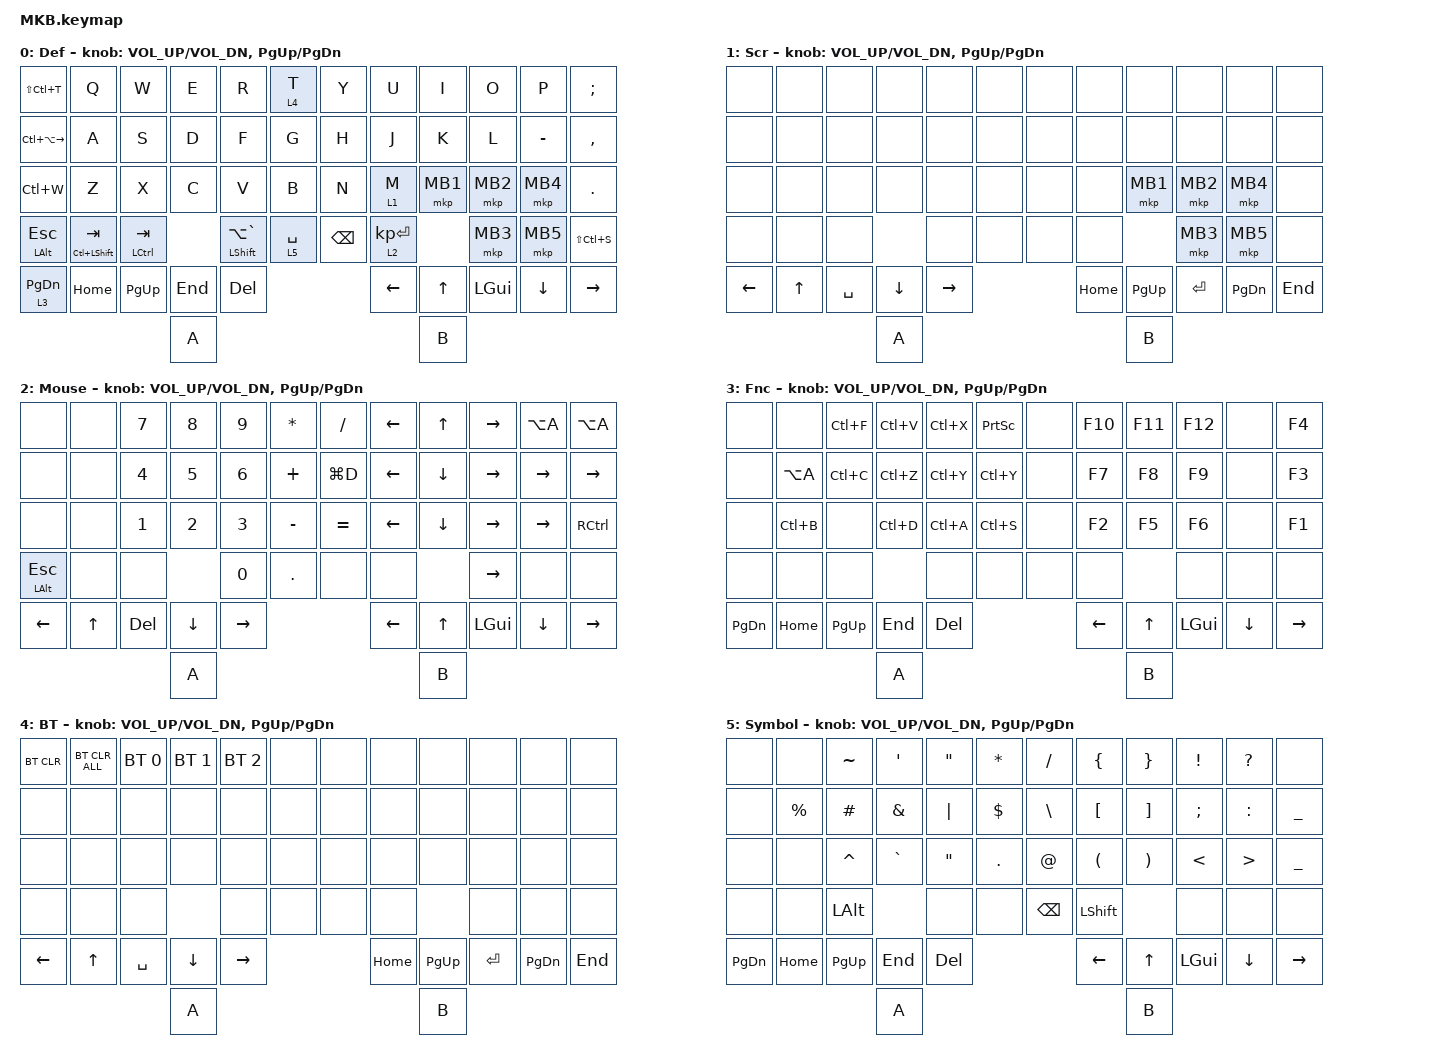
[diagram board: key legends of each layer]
// #include <layout_shift.dtsi>

#include <layout_shift_kp_override.dtsi>
#include <behaviors.dtsi>
#include <dt-bindings/zmk/bt.h>
#include <dt-bindings/zmk/keys.h>
#include <dt-bindings/zmk/pointing.h>

#define DEF 0
#define MSCROLL 1
#define MOUSE 2
#define FUNC 3
#define BT 4
#define SYMBOL 5
#define NUM 6

&mt {
    flavor = "balanced";
    tapping-term-ms = <280>;
    quick-tap-ms = <175>;
    require-prior-idle-ms = <150>;
};

/ {
    keymap {
        compatible = "zmk,keymap";

        default_layer {
            label = "Def";
            bindings = <
&kp LS(LC(T))      &kp Q                   &kp W                 &kp E    &kp R                 &lt 4 T          &kp Y     &kp U           &kp I     &kp O         &kp P      &kp SEMI
&kp LC(LA(RIGHT))  &kp A                   &kp S                 &kp D    &kp F                 &kp G            &kp H     &kp J           &kp K     &kp L         &kp MINUS  &kp COMMA
&kp LC(W)          &kp Z                   &kp X                 &kp C    &kp V                 &kp B            &kp N     &lt 1 M         &mkp MB1  &mkp MB2      &mkp MB4   &kp DOT
&mt LEFT_ALT ESC   &mt LC(LEFT_SHIFT) TAB  &mt LEFT_CONTROL TAB           &mt LSHIFT LA(GRAVE)  &lt 5 SPACE      &kp BSPC  &lt 2 KP_ENTER            &mkp MB3      &mkp MB5   &kp LS(LC(S))
&lt 3 PG_DN        &kp HOME                &kp PG_UP             &kp END  &kp DEL                                          &kp LEFT        &kp UP    &kp LEFT_GUI  &kp DOWN   &kp RIGHT
                                                                 &kp A                                                                     &kp B
            >;

            sensor-bindings = <&inc_dec_kp C_VOL_UP C_VOL_DN &inc_dec_kp PG_UP PG_DN>;
        };

        mousescroll_layer {
            label = "Scr";
            bindings = <
&none     &none   &none      &none     &none      &none      &none  &none     &none      &none      &none      &none
&none     &none   &none      &none     &none      &none      &none  &none     &none      &none      &none      &none
&none     &none   &none      &none     &none      &none      &none  &none     &mkp MB1   &mkp MB2   &mkp MB4   &none
&none     &none   &none                &none      &none      &none  &none                &mkp MB3   &mkp MB5   &none
&kp LEFT  &kp UP  &kp SPACE  &kp DOWN  &kp RIGHT                    &kp HOME  &kp PG_UP  &kp ENTER  &kp PG_DN  &kp END
                             &kp A                                            &kp B
            >;

            sensor-bindings = <&inc_dec_kp C_VOL_UP C_VOL_DN &inc_dec_kp PG_UP PG_DN>;
        };

        mouse_layer {
            label = "Mouse";
            bindings = <
&none             &none   &kp N7   &kp N8    &kp N9     &kp STAR       &kp SLASH  &kp LEFT  &kp UP    &kp RIGHT     &kp LA(A)  &kp LA(A)
&none             &none   &kp N4   &kp N5    &kp N6     &kp PLUS       &kp LG(D)  &kp LEFT  &kp DOWN  &kp RIGHT     &kp RIGHT  &kp RIGHT
&none             &none   &kp N1   &kp N2    &kp N3     &kp MINUS      &kp EQUAL  &kp LEFT  &kp DOWN  &kp RIGHT     &kp RIGHT  &kp RCTRL
&mt LEFT_ALT ESC  &none   &none              &kp N0     &kp DOT        &none      &none               &kp RIGHT     &none      &none
&kp LEFT          &kp UP  &kp DEL  &kp DOWN  &kp RIGHT                            &kp LEFT  &kp UP    &kp LEFT_GUI  &kp DOWN   &kp RIGHT
                                   &kp A                                                    &kp B
            >;

            sensor-bindings = <&inc_dec_kp C_VOL_UP C_VOL_DN &inc_dec_kp PG_UP PG_DN>;
        };

        function_layer {
            label = "Fnc";
            bindings = <
&none      &none      &kp LC(F)  &kp LC(V)  &kp LC(X)   &kp PSCRN      &none  &kp F10   &kp F11  &kp F12       &none     &kp F4
&none      &kp LA(A)  &kp LC(C)  &kp LC(Z)  &kp LC(Y)   &kp LC(Y)      &none  &kp F7    &kp F8   &kp F9        &none     &kp F3
&none      &kp LC(B)  &none      &kp LC(D)  &kp LC(A)   &kp LC(S)      &none  &kp F2    &kp F5   &kp F6        &none     &kp F1
&none      &none      &none                 &none       &none          &none  &none              &none         &none     &none
&kp PG_DN  &kp HOME   &kp PG_UP  &kp END    &kp DELETE                        &kp LEFT  &kp UP   &kp LEFT_GUI  &kp DOWN  &kp RIGHT
                                 &kp A                                                  &kp B
            >;

            sensor-bindings = <&inc_dec_kp C_VOL_UP C_VOL_DN &inc_dec_kp PG_UP PG_DN>;
        };

        bt_layer {
            label = "BT";
            bindings = <
&bt BT_CLR  &bt BT_CLR_ALL  &bt BT_SEL 0  &bt BT_SEL 1  &bt BT_SEL 2  &none      &none  &none     &none      &none      &none      &none
&none       &none           &none         &none         &none         &none      &none  &none     &none      &none      &none      &none
&none       &none           &none         &none         &none         &none      &none  &none     &none      &none      &none      &none
&none       &none           &none                       &none         &none      &none  &none                &none      &none      &none
&kp LEFT    &kp UP          &kp SPACE     &kp DOWN      &kp RIGHT                       &kp HOME  &kp PG_UP  &kp ENTER  &kp PG_DN  &kp END
                                          &kp A                                                   &kp B
            >;

            sensor-bindings = <&inc_dec_kp C_VOL_UP C_VOL_DN &inc_dec_kp PG_UP PG_DN>;
        };

        symbol_layer {
            label = "Symbol";
            bindings = <
&none      &none      &kp TILDE     &kp SQT    &kp DQT   &kp STAR      &kp SLASH      &kp LBRC        &kp RBRC  &kp EXCL      &kp QMARK  &none
&none      &kp PRCNT  &kp HASH      &kp AMPS   &kp PIPE  &kp DLLR      &kp BACKSLASH  &kp LBKT        &kp RBKT  &kp SEMI      &kp COLON  &kp UNDER
&none      &none      &kp CARET     &kp GRAVE  &kp DQT   &kp DOT       &kp AT         &kp LPAR        &kp RPAR  &kp LT        &kp GT     &kp UNDER
&none      &none      &kp LEFT_ALT             &none     &none         &kp BACKSPACE  &kp LEFT_SHIFT            &none         &none      &none
&kp PG_DN  &kp HOME   &kp PG_UP     &kp END    &kp DEL                                &kp LEFT        &kp UP    &kp LEFT_GUI  &kp DOWN   &kp RIGHT
                                    &kp A                                                             &kp B
            >;

            sensor-bindings = <&inc_dec_kp C_VOL_UP C_VOL_DN &inc_dec_kp PG_UP PG_DN>;
        };
    };
};
